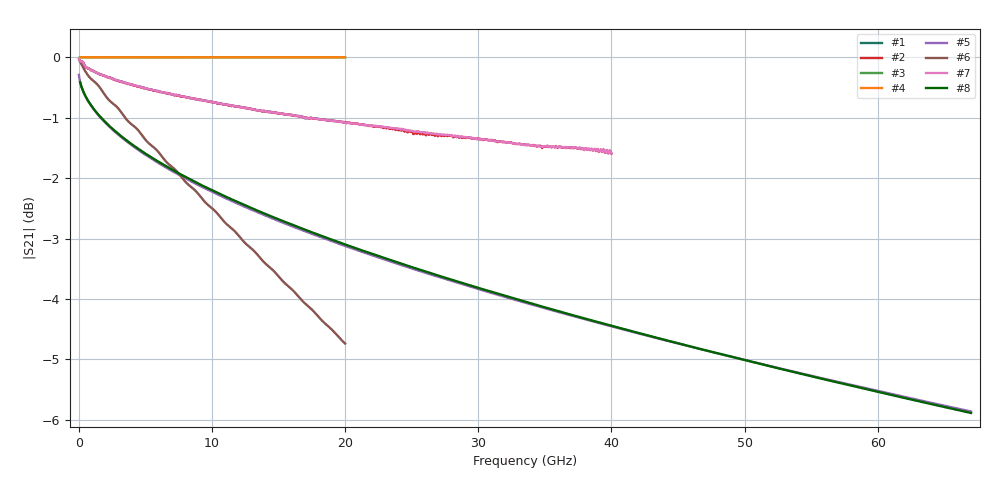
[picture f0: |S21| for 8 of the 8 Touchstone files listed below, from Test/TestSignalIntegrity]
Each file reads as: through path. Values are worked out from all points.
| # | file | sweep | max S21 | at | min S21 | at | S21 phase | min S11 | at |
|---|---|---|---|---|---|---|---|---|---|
| 1 | cableDeembedded.s2p | 100 MHz to 20 GHz | -0.06 dB | 100 MHz | -1.1 dB | 20 GHz | 119 deg at 10.1 GHz | -63.6 dB | 6.4 GHz |
| 2 | cableForRLGC.s2p | 40 MHz to 40 GHz | -0.03 dB | 40 MHz | -1.6 dB | 40 GHz | -12 deg at 20.04 GHz | -63.1 dB | 5.68 GHz |
| 3 | cableLeftSide.s2p | 100 MHz to 20 GHz | 0.00 dB | 18.1 GHz | 0.0 dB | 5.5 GHz | 175 deg at 10.1 GHz | -61.7 dB | 18.1 GHz |
| 4 | cableRightSide.s2p | 100 MHz to 20 GHz | 0.00 dB | 20 GHz | 0.0 dB | 5.8 GHz | 175 deg at 10.1 GHz | -60.7 dB | 20 GHz |
| 5 | Eyal2.s2p | 20 MHz to 67 GHz | -0.29 dB | 20 MHz | -5.9 dB | 67 GHz | 2 deg at 33.52 GHz | -60.1 dB | 340 MHz |
| 6 | RLGCFitFromFileUnCached.s2p | 50 MHz to 20 GHz | -0.04 dB | 50 MHz | -4.7 dB | 20 GHz | -158 deg at 10.05 GHz | -45.8 dB | 1.45 GHz |
| 7 | TestImpedanceProfile_testPeelCableforRLGC_deembedded.s2p | 40 MHz to 40 GHz | -0.03 dB | 40 MHz | -1.6 dB | 40 GHz | -100 deg at 20.04 GHz | -71.8 dB | 3.8 GHz |
| 8 | TestRLGCLevMar_testRLGCFitEyal.s2p | 110.1 MHz to 67 GHz | -0.41 dB | 110.1 MHz | -5.9 dB | 67 GHz | -57 deg at 33.56 GHz | -52.8 dB | 110.1 MHz |
